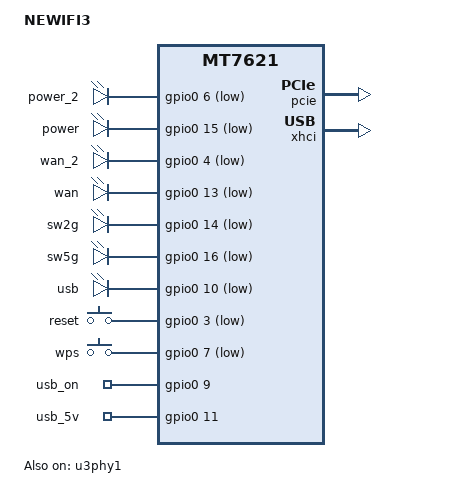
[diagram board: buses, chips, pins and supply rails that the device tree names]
/dts-v1/;

#include "mt7621-raeth.dtsi"
#include <dt-bindings/input/input.h>
#include "mt7621-spi-32m-layout.dtsi"
#include "mt7621-raeth-gmac2.dtsi"

/ {
	compatible = "mediatek,mt7621-soc";
	model = "NEWIFI3";
	
	chosen {
		bootargs = "console=ttyS0,115200";
	};

	leds {
		compatible = "gpio-leds";

		sys_purple {
			label = "power_2";
			gpios = <&gpio0 6 GPIO_ACTIVE_LOW>;
		};

		sys_blue {
			label = "power";
			gpios = <&gpio0 15 GPIO_ACTIVE_LOW>;
		};

		wan_purple {
			label = "wan_2";
			gpios = <&gpio0 4 GPIO_ACTIVE_LOW>;
		};

		wan_blue {
			label = "wan";
			gpios = <&gpio0 13 GPIO_ACTIVE_LOW>;
		};

		w2g_blue {
			label = "sw2g";
			gpios = <&gpio0 14 GPIO_ACTIVE_LOW>;
		};

		w5g_blue {
			label = "sw5g";
			gpios = <&gpio0 16 GPIO_ACTIVE_LOW>;
		};

		usb_blue {
			label = "usb";
			gpios = <&gpio0 10 GPIO_ACTIVE_LOW>;
		};
	};

	gpio-keys-polled {
		compatible = "gpio-keys-polled";
		#address-cells = <1>;
		#size-cells = <0>;
		poll-interval = <20>;

		reset {
			label = "reset";
			gpios = <&gpio0 3 GPIO_ACTIVE_LOW>;
			linux,code = <KEY_RESTART>;
		};

		wps {
			label = "wps";
			gpios = <&gpio0 7 GPIO_ACTIVE_LOW>;
			linux,code = <KEY_WPS_BUTTON>;
		};
	};

	gpio_export {
		compatible = "gpio-export";
		#size-cells = <0>;

		usb_on {
			gpio-export,name = "usb_on";
			gpio-export,output = <1>;
			gpios = <&gpio0 9 GPIO_ACTIVE_HIGH>;
		};

		usb_5v {
			gpio-export,name = "usb_5v";
			gpio-export,output = <1>;
			gpios = <&gpio0 11 GPIO_ACTIVE_HIGH>;
		};
	};
};

&pcie {
	status = "okay";
};

&xhci {
	status = "okay";
};

&u3phy1 {
	status = "okay";
};
